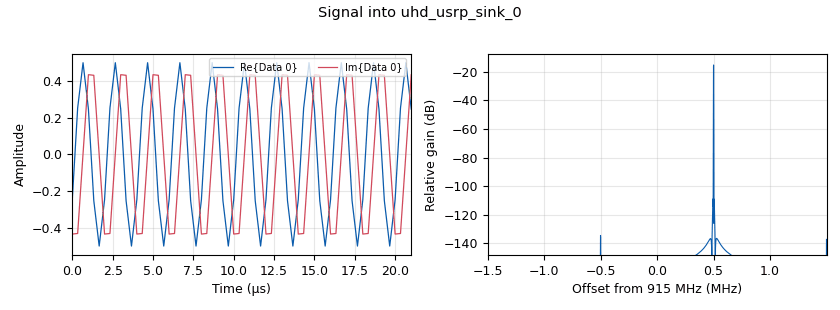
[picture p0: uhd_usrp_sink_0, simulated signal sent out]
options:
  parameters:
    author: MR
    generate_options: no_gui
    id: Tx_Tone
    output_language: python
    run_options: run
    title: Transmit tone
  states: {}

blocks:
- name: analog_sig_source_x_0
  id: analog_sig_source_x
  parameters:
    amp: tone_amp
    freq: tone_freq
    offset: '0'
    phase: '0'
    samp_rate: samp_rate
    type: complex
    waveform: analog.GR_COS_WAVE
  states: {}
- name: fc
  id: parameter
  parameters:
    label: Center Frequency
    short_id: c
    type: eng_float
    value: 915e6
  states: {}
- name: node
  id: parameter
  parameters:
    label: Node Number
    short_id: n
    type: str
    value: '101'
  states: {}
- name: samp_rate
  id: parameter
  parameters:
    label: Sample Rate
    short_id: r
    type: eng_float
    value: 3e6
  states: {}
- name: tone_amp
  id: parameter
  parameters:
    label: Signal Amplitude (tone)
    short_id: a
    type: eng_float
    value: '0.5'
  states: {}
- name: tone_freq
  id: parameter
  parameters:
    label: Tone Frequency (Relative to fc)
    short_id: f
    type: eng_float
    value: 0.5e6
  states: {}
- name: tx_gain
  id: parameter
  parameters:
    label: Transmitter Gain
    short_id: g
    type: eng_float
    value: '40'
  states: {}
- name: uhd_usrp_sink_0
  id: uhd_usrp_sink
  parameters:
    ant0: TX/RX
    center_freq0: fc
    dev_args: '""'
    gain0: tx_gain
    len_tag_name: ''
    norm_gain0: 'False'
    samp_rate: samp_rate
    sync: none
    type: fc32
  states: {}
- name: xmlrpc_server_0
  id: xmlrpc_server
  parameters:
    addr: '"10.1.1." + node'
    port: '8080'
  states: {}

connections:
- [analog_sig_source_x_0, '0', uhd_usrp_sink_0, '0']

metadata:
  file_format: 1
